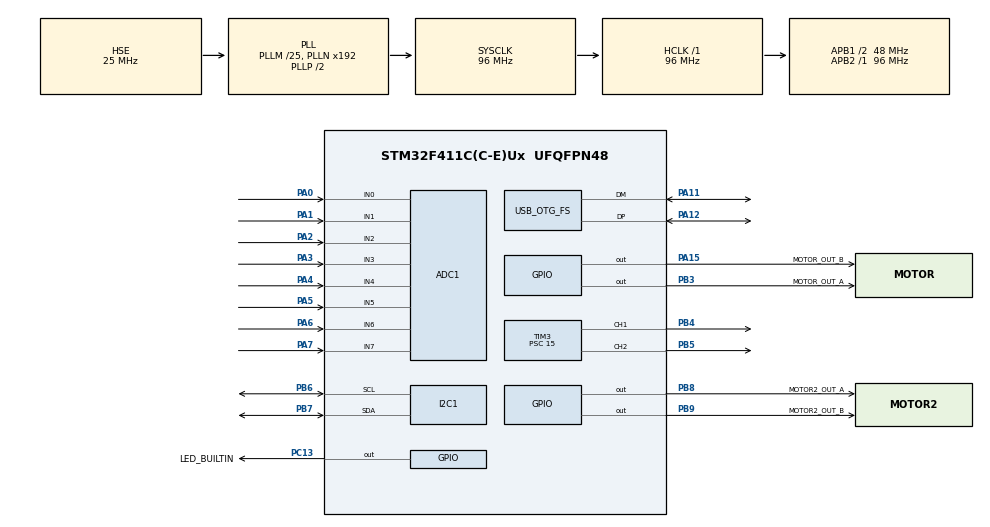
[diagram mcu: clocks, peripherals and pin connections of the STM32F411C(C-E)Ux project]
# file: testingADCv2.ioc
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ADC1.Channel-0\#ChannelRegularConversion=ADC_CHANNEL_0
ADC1.Channel-1\#ChannelRegularConversion=ADC_CHANNEL_1
ADC1.Channel-2\#ChannelRegularConversion=ADC_CHANNEL_2
ADC1.Channel-3\#ChannelRegularConversion=ADC_CHANNEL_3
ADC1.Channel-4\#ChannelRegularConversion=ADC_CHANNEL_4
ADC1.Channel-5\#ChannelRegularConversion=ADC_CHANNEL_5
ADC1.Channel-6\#ChannelRegularConversion=ADC_CHANNEL_6
ADC1.Channel-7\#ChannelRegularConversion=ADC_CHANNEL_7
ADC1.NbrOfConversion=8
ADC1.NbrOfConversionFlag=1
ADC1.Rank-0\#ChannelRegularConversion=1
ADC1.Rank-1\#ChannelRegularConversion=2
ADC1.Rank-2\#ChannelRegularConversion=3
ADC1.Rank-3\#ChannelRegularConversion=4
ADC1.Rank-4\#ChannelRegularConversion=5
ADC1.Rank-5\#ChannelRegularConversion=6
ADC1.Rank-6\#ChannelRegularConversion=7
ADC1.Rank-7\#ChannelRegularConversion=8
ADC1.SamplingTime-0\#ChannelRegularConversion=ADC_SAMPLETIME_56CYCLES
ADC1.SamplingTime-1\#ChannelRegularConversion=ADC_SAMPLETIME_56CYCLES
ADC1.SamplingTime-2\#ChannelRegularConversion=ADC_SAMPLETIME_56CYCLES
ADC1.SamplingTime-3\#ChannelRegularConversion=ADC_SAMPLETIME_56CYCLES
ADC1.SamplingTime-4\#ChannelRegularConversion=ADC_SAMPLETIME_56CYCLES
ADC1.SamplingTime-5\#ChannelRegularConversion=ADC_SAMPLETIME_56CYCLES
ADC1.SamplingTime-6\#ChannelRegularConversion=ADC_SAMPLETIME_56CYCLES
ADC1.SamplingTime-7\#ChannelRegularConversion=ADC_SAMPLETIME_56CYCLES
ADC1.master=1
Dma.ADC1.0.Direction=DMA_PERIPH_TO_MEMORY
Dma.ADC1.0.FIFOMode=DMA_FIFOMODE_DISABLE
Dma.ADC1.0.Instance=DMA2_Stream0
Dma.ADC1.0.MemDataAlignment=DMA_MDATAALIGN_HALFWORD
Dma.ADC1.0.MemInc=DMA_MINC_ENABLE
Dma.ADC1.0.Mode=DMA_NORMAL
Dma.ADC1.0.PeriphDataAlignment=DMA_PDATAALIGN_HALFWORD
Dma.ADC1.0.PeriphInc=DMA_PINC_DISABLE
Dma.ADC1.0.Priority=DMA_PRIORITY_HIGH
Dma.I2C1_RX.2.Direction=DMA_PERIPH_TO_MEMORY
Dma.I2C1_RX.2.FIFOMode=DMA_FIFOMODE_DISABLE
Dma.I2C1_RX.2.Instance=DMA1_Stream0
Dma.I2C1_RX.2.MemDataAlignment=DMA_MDATAALIGN_BYTE
Dma.I2C1_RX.2.MemInc=DMA_MINC_ENABLE
Dma.I2C1_RX.2.Mode=DMA_NORMAL
Dma.I2C1_RX.2.PeriphDataAlignment=DMA_PDATAALIGN_BYTE
Dma.I2C1_RX.2.PeriphInc=DMA_PINC_DISABLE
Dma.I2C1_RX.2.Priority=DMA_PRIORITY_LOW
Dma.I2C1_TX.1.Direction=DMA_MEMORY_TO_PERIPH
Dma.I2C1_TX.1.FIFOMode=DMA_FIFOMODE_DISABLE
Dma.I2C1_TX.1.Instance=DMA1_Stream1
Dma.I2C1_TX.1.MemDataAlignment=DMA_MDATAALIGN_BYTE
Dma.I2C1_TX.1.MemInc=DMA_MINC_ENABLE
Dma.I2C1_TX.1.Mode=DMA_NORMAL
Dma.I2C1_TX.1.PeriphDataAlignment=DMA_PDATAALIGN_BYTE
Dma.I2C1_TX.1.PeriphInc=DMA_PINC_DISABLE
Dma.I2C1_TX.1.Priority=DMA_PRIORITY_LOW
Dma.Request0=ADC1
Dma.Request1=I2C1_TX
Dma.Request2=I2C1_RX
I2C1.I2C_Mode=I2C_Fast
Mcu.Family=STM32F4
Mcu.Name=STM32F411C(C-E)Ux
Mcu.Package=UFQFPN48
NVIC.ADC_IRQn=true\:0\:0\:false\:false\:true\:true\:true\:true
NVIC.DMA1_Stream0_IRQn=true\:0\:0\:false\:false\:true\:false\:true\:true
NVIC.DMA1_Stream1_IRQn=true\:0\:0\:false\:false\:true\:false\:true\:true
NVIC.DMA2_Stream0_IRQn=true\:0\:0\:false\:false\:true\:false\:true\:true
NVIC.FPU_IRQn=true\:0\:0\:false\:false\:true\:true\:false\:true
NVIC.I2C1_ER_IRQn=true\:0\:0\:false\:false\:true\:true\:true\:true
NVIC.I2C1_EV_IRQn=true\:0\:0\:false\:false\:true\:true\:true\:true
NVIC.OTG_FS_IRQn=true\:0\:0\:false\:false\:true\:true\:true\:true
NVIC.PriorityGroup=NVIC_PRIORITYGROUP_4
NVIC.TIM1_TRG_COM_TIM11_IRQn=true\:0\:0\:false\:false\:true\:true\:true\:true
NVIC.TIM1_UP_TIM10_IRQn=true\:0\:0\:false\:false\:true\:true\:true\:true
NVIC.TIM3_IRQn=true\:0\:0\:false\:false\:true\:true\:true\:true
PA0-WKUP.Signal=ADCx_IN0
PA1.Signal=ADCx_IN1
PA11.Mode=Device_Only
PA11.Signal=USB_OTG_FS_DM
PA12.Mode=Device_Only
PA12.Signal=USB_OTG_FS_DP
PA13.Mode=Serial_Wire
PA13.Signal=SYS_JTMS-SWDIO
PA14.Mode=Serial_Wire
PA14.Signal=SYS_JTCK-SWCLK
PA15.GPIO_Label=MOTOR_OUT_B
PA15.Signal=GPIO_Output
PA2.Signal=ADCx_IN2
PA3.Signal=ADCx_IN3
PA4.Signal=ADCx_IN4
PA5.Signal=ADCx_IN5
PA6.Signal=ADCx_IN6
PA7.Signal=ADCx_IN7
PB3.GPIO_Label=MOTOR_OUT_A
PB3.Signal=GPIO_Output
PB4.Signal=S_TIM3_CH1
PB5.Signal=S_TIM3_CH2
PB6.Mode=I2C
PB6.Signal=I2C1_SCL
PB7.Mode=I2C
PB7.Signal=I2C1_SDA
PB8.GPIO_Label=MOTOR2_OUT_A
PB8.Signal=GPIO_Output
PB9.GPIO_Label=MOTOR2_OUT_B
PB9.Signal=GPIO_Output
PC13-ANTI_TAMP.GPIO_Label=LED_BUILTIN
PC13-ANTI_TAMP.Signal=GPIO_Output
PC14-OSC32_IN.Mode=LSE-External-Oscillator
PC14-OSC32_IN.Signal=RCC_OSC32_IN
PC15-OSC32_OUT.Mode=LSE-External-Oscillator
PC15-OSC32_OUT.Signal=RCC_OSC32_OUT
PH0\ -\ OSC_IN.Mode=HSE-External-Oscillator
PH0\ -\ OSC_IN.Signal=RCC_OSC_IN
PH1\ -\ OSC_OUT.Mode=HSE-External-Oscillator
PH1\ -\ OSC_OUT.Signal=RCC_OSC_OUT
ProjectManager.HeapSize=0x200
ProjectManager.StackSize=0x400
ProjectManager.TargetToolchain=STM32CubeIDE
RCC.48MHZClocksFreq_Value=48000000
RCC.AHBFreq_Value=96000000
RCC.APB1CLKDivider=RCC_HCLK_DIV2
RCC.APB1Freq_Value=48000000
RCC.APB1TimFreq_Value=96000000
RCC.APB2Freq_Value=96000000
RCC.APB2TimFreq_Value=96000000
RCC.CortexFreq_Value=96000000
RCC.HCLKFreq_Value=96000000
RCC.HSE_VALUE=25000000
RCC.HSI_VALUE=16000000
RCC.PLLM=25
RCC.SYSCLKFreq_VALUE=96000000
RCC.SYSCLKSource=RCC_SYSCLKSOURCE_PLLCLK
RCC.VCOOutputFreq_Value=192000000
SH.ADCx_IN0.0=ADC1_IN0,IN0
SH.ADCx_IN1.0=ADC1_IN1,IN1
SH.ADCx_IN2.0=ADC1_IN2,IN2
SH.ADCx_IN3.0=ADC1_IN3,IN3
SH.ADCx_IN4.0=ADC1_IN4,IN4
SH.ADCx_IN5.0=ADC1_IN5,IN5
SH.ADCx_IN6.0=ADC1_IN6,IN6
SH.ADCx_IN7.0=ADC1_IN7,IN7
SH.S_TIM3_CH1.0=TIM3_CH1,PWM Generation1 CH1
SH.S_TIM3_CH2.0=TIM3_CH2,PWM Generation2 CH2
TIM10.Period=999
TIM10.Prescaler=47
TIM11.Period=23999
TIM11.Prescaler=0
TIM3.Channel-PWM\ Generation1\ CH1=TIM_CHANNEL_1
TIM3.Channel-PWM\ Generation2\ CH2=TIM_CHANNEL_2
TIM3.Period=59999
TIM3.Prescaler=15
USB_DEVICE.APP_RX_DATA_SIZE=512
USB_DEVICE.APP_TX_DATA_SIZE=512
USB_DEVICE.CLASS_NAME_FS=CDC
USB_DEVICE.VirtualMode=Cdc
USB_DEVICE.VirtualModeFS=Cdc_FS
USB_OTG_FS.VirtualMode=Device_Only
VP_TIM10_VS_ClockSourceINT.Mode=Enable_Timer
VP_TIM11_VS_ClockSourceINT.Mode=Enable_Timer
VP_TIM3_VS_ClockSourceINT.Mode=Internal
VP_USB_DEVICE_VS_USB_DEVICE_CDC_FS.Mode=CDC_FS
board=custom

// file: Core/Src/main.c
/* USER CODE BEGIN Header */
/**
  ******************************************************************************
  * @file           : main.c
  * @brief          : Main program body
  ******************************************************************************
  * @attention
  *
  * Copyright (c) 2025 STMicroelectronics.
  * All rights reserved.
  *
  * This software is licensed under terms that can be found in the LICENSE file
  * in the root directory of this software component.
  * If no LICENSE file comes with this software, it is provided AS-IS.
  *
  ******************************************************************************
  */
/* USER CODE END Header */
#include "main.h"
#include "usb_device.h"

/* USER CODE BEGIN Includes */
#include "usbd_cdc_if.h"
#include "util.h"
#include "fonts.h"
#include "ssd1306_oled.h"
#include "FCAL2.h"
#include "mpu6050.h"
#include "motores.h"
#include <stdlib.h>
/* USER CODE END Includes */

/* USER CODE BEGIN PM */
#define ADC_MAX_CHANNELS 	8
#define RXBUFSIZE           256
#define TXBUFSIZE           256
#define TRUE 				1
#define FALSE				0
#define SISINIT  			Flag.bits.bit0
#define RECIVEDMA 			Flag.bits.bit2
#define SENDDMA 			Flag.bits.bit3
#define DMABUSY				Flag.bits.bit4
//#define RINGBUFFLENGHTH 	256
/* USER CODE END PM */

ADC_HandleTypeDef hadc1;
DMA_HandleTypeDef hdma_adc1;

I2C_HandleTypeDef hi2c1;
DMA_HandleTypeDef hdma_i2c1_tx;
DMA_HandleTypeDef hdma_i2c1_rx;

TIM_HandleTypeDef htim3;
TIM_HandleTypeDef htim10;
TIM_HandleTypeDef htim11;

/* USER CODE BEGIN PV */
volatile _sRx dataRx;
_sTx dataTx;
uint8_t BufUSBTx[256];
volatile uint8_t buffRx[RXBUFSIZE];
uint8_t buffTx[TXBUFSIZE];
uint16_t RINGBUFFLENGTH = 256;
MPU6050_t mpuValues;
uint8_t nBytesTx;
uint8_t is10ms = 	40;
uint8_t is100ms = 	10;
uint8_t is250ms = 	25;
uint16_t adcraws[ADC_MAX_CHANNELS];
uint16_t adcUSB[ADC_MAX_CHANNELS];
_sEng motorL,motorR;
_uWord myWord;
_uFlag Flag;
const uint8_t Index_to_Bar[] = {
    21, 22, 23, 24, 25, 26, 27, 28, 29,
    30, 31, 32, 33, 34, 35, 36, 37, 38, 39,
    40, 41, 42, 43, 44, 45, 46, 47, 48, 49,
    50, 51, 52, 53, 54, 55, 56, 57, 58, 59
};

const uint16_t ADC_to_Index[] = {
  105,  210,  315,  420,  525,  630,  735,  840,  945,
  1050, 1155, 1260, 1365, 1470, 1575, 1680, 1785, 1890, 1995,
  2100, 2205, 2310, 2415, 2520, 2625, 2730, 2835, 2940, 3045,
  3150, 3255, 3360, 3465, 3570, 3675, 3780, 3885, 3990, 4095
};
/* USER CODE END PV */

void SystemClock_Config(void);
static void MX_GPIO_Init(void);
static void MX_DMA_Init(void);
static void MX_ADC1_Init(void);
static void MX_TIM11_Init(void);
static void MX_TIM10_Init(void);
static void MX_I2C1_Init(void);
static void MX_TIM3_Init(void);
/* USER CODE BEGIN PFP */
void USBRxData(uint8_t *buf, uint32_t Len);
uint8_t I2C_DMA_Transmit(uint16_t Dev_Address,uint16_t reg,uint8_t *p_Data, uint16_t _Size);
uint8_t I2C_1_Abstract_Master_Transmit_Blocking(uint16_t Dev_Address, uint8_t *p_Data, uint16_t _Size, uint32_t _Timeout);
uint8_t I2C_RBlocking(uint16_t DevAddress, uint16_t MemAddress, uint16_t MemAddSize, uint8_t *pData, uint16_t Size);
uint8_t I2C_1_Abstract_Mem_Write_Blocking(uint16_t Dev_Address, uint8_t Mem_Adress, uint8_t Mem_AddSize, uint8_t *p_Data, uint16_t _Size, uint32_t _Timeout);
uint8_t I2C_DMA_Recive(uint16_t Dev_Address,uint16_t reg,uint8_t *p_Data, uint16_t _Size);
uint8_t putHeaderOnTx(_sTx  *dataTx, _eCmd ID, uint8_t frameLength);
uint8_t putByteOnTx(_sTx    *dataTx, uint8_t byte);
uint8_t getByteFromRx(_sRx *dataRx, uint8_t iniPos, uint8_t finalPos);
void decodeHeader(_sRx *dataRx);
void decodeCommand(_sRx *dataRx, _sTx *dataTx);
void serialTask(_sRx *dataRx, _sTx *dataTx);
void DMA_Task();
void Engines_task();
/* USER CODE END PFP */

/* USER CODE BEGIN 0 */
void HAL_TIM_PeriodElapsedCallback(TIM_HandleTypeDef *htim){
	if(htim->Instance == TIM11){
		HAL_ADC_Start_DMA(&hadc1, (uint32_t*)&adcraws, 8);
		if(is10ms){
			is10ms--;

		}
	}
	if(htim->Instance == TIM10){
		SSD1306_DMAREADY(FALSE);
		MPU6050_Read_All(&mpuValues);
		mpuValues.DMAREADY=1;
	}
}
void HAL_I2C_MemTxCpltCallback(I2C_HandleTypeDef *hi2c){
	if(hi2c->Devaddress==SSD1306_I2C_ADDR){
		SSD1306_DMAREADY(TRUE);
	}
}
void HAL_I2C_MemRxCpltCallback(I2C_HandleTypeDef *hi2c){
	if(hi2c->Devaddress==MPU6050_ADDR){
		mpuValues.MAF.rawData[0] = (int16_t) (mpuValues.Rec_Data[0] << 8 | mpuValues.Rec_Data[1]);
		mpuValues.MAF.rawData[1] = (int16_t) (mpuValues.Rec_Data[2] << 8 | mpuValues.Rec_Data[3]);
		mpuValues.MAF.rawData[2] = (int16_t) (mpuValues.Rec_Data[4] << 8 | mpuValues.Rec_Data[5]);
		mpuValues.MAF.rawData[3] = (int16_t) (mpuValues.Rec_Data[8] << 8 | mpuValues.Rec_Data[9]);
		mpuValues.MAF.rawData[4] = (int16_t) (mpuValues.Rec_Data[10]<< 8 | mpuValues.Rec_Data[11]);
		mpuValues.MAF.rawData[5] = (int16_t) (mpuValues.Rec_Data[12]<< 8 | mpuValues.Rec_Data[13]);
		SSD1306_DMAREADY(TRUE);

	}
}
void Engines_task(){

	en_HandlerENG(&motorR, 55000, 0);
	en_HandlerENG(&motorL, 40000, 0);
	switch(motorR.estado){
			case BRAKE:
				HAL_GPIO_WritePin(MOTOR2_OUT_A_GPIO_Port, MOTOR2_OUT_A_Pin, 1);
				HAL_GPIO_WritePin(MOTOR2_OUT_B_GPIO_Port, MOTOR2_OUT_B_Pin, 1);
				break;

			case FRONT:
				HAL_GPIO_WritePin(MOTOR2_OUT_A_GPIO_Port, MOTOR2_OUT_A_Pin, 1);
				HAL_GPIO_WritePin(MOTOR2_OUT_B_GPIO_Port, MOTOR2_OUT_B_Pin, 0);
				break;

			case BACK:
				HAL_GPIO_WritePin(MOTOR2_OUT_A_GPIO_Port, MOTOR2_OUT_A_Pin, 0);
				HAL_GPIO_WritePin(MOTOR2_OUT_B_GPIO_Port, MOTOR2_OUT_B_Pin, 1);
				break;

			case FREE:
				HAL_GPIO_WritePin(MOTOR2_OUT_A_GPIO_Port, MOTOR2_OUT_A_Pin, 0);
				HAL_GPIO_WritePin(MOTOR2_OUT_B_GPIO_Port, MOTOR2_OUT_B_Pin, 0);
				break;
			default:
				break;
			}
	switch(motorL.estado){
		case BRAKE:
			HAL_GPIO_WritePin(MOTOR_OUT_A_GPIO_Port, MOTOR_OUT_A_Pin, 1);
			HAL_GPIO_WritePin(MOTOR_OUT_B_GPIO_Port, MOTOR_OUT_B_Pin, 1);
			break;

		case FRONT:
			HAL_GPIO_WritePin(MOTOR_OUT_A_GPIO_Port, MOTOR_OUT_A_Pin, 1);
			HAL_GPIO_WritePin(MOTOR_OUT_B_GPIO_Port, MOTOR_OUT_B_Pin, 0);
			break;

		case BACK:
			HAL_GPIO_WritePin(MOTOR_OUT_A_GPIO_Port, MOTOR_OUT_A_Pin, 0);
			HAL_GPIO_WritePin(MOTOR_OUT_B_GPIO_Port, MOTOR_OUT_B_Pin, 1);
			break;

		case FREE:
			HAL_GPIO_WritePin(MOTOR_OUT_A_GPIO_Port, MOTOR_OUT_A_Pin, 0);
			HAL_GPIO_WritePin(MOTOR_OUT_B_GPIO_Port, MOTOR_OUT_B_Pin, 0);
			break;
		default:
			break;
	}
		__HAL_TIM_SET_COMPARE(&htim3, TIM_CHANNEL_1, motorL.speed);
		__HAL_TIM_SET_COMPARE(&htim3, TIM_CHANNEL_2, motorR.speed);
}
void HAL_ADC_ConvCpltCallback(ADC_HandleTypeDef *hadc){
	adcUSB[0] = adcraws[0];
	adcUSB[1] = adcraws[1];
	adcUSB[2] = adcraws[2];
	adcUSB[3] = adcraws[3];
	adcUSB[4] = adcraws[4];
	adcUSB[5] = adcraws[5];
	adcUSB[6] = adcraws[6];
	adcUSB[7] = adcraws[7];
}
void USBRxData(uint8_t *buf, uint32_t Len){
	for(nBytesTx = 0;nBytesTx<Len;nBytesTx++){
			dataRx.buff[dataRx.indexW++]= buf[nBytesTx];
		    dataRx.indexW &= dataRx.mask;
		}
}

void decodeHeader(_sRx *dataRx)
{
    uint8_t auxIndex=dataRx->indexW;
    while(dataRx->indexR != auxIndex){
        switch(dataRx->header)
        {
            case HEADER_U:
                if(dataRx->buff[dataRx->indexR] == 'U'){
                    dataRx->header = HEADER_N;
                    dataRx->timeOut = 5;
                }
            break;
            case HEADER_N:
                if(dataRx->buff[dataRx->indexR] == 'N'){
                    dataRx->header = HEADER_E;
                }else{
                    if(dataRx->buff[dataRx->indexR] != 'U'){
                        dataRx->header = HEADER_U;
                        dataRx->indexR--;
                    }
                }
            break;
            case HEADER_E:
                if(dataRx->buff[dataRx->indexR] == 'E'){
                    dataRx->header = HEADER_R;
                }else{
                    dataRx->header = HEADER_U;
                    dataRx->indexR--;
                }
            break;
            case HEADER_R:
                if(dataRx->buff[dataRx->indexR] == 'R'){
                    dataRx->header = NBYTES;
                }else{
                    dataRx->header = HEADER_U;
                    dataRx->indexR--;
                }
            break;
            case NBYTES:
                dataRx->nBytes=dataRx->buff[dataRx->indexR];
                dataRx->header = TOKEN;
            break;
            case TOKEN:
                if(dataRx->buff[dataRx->indexR] == ':'){
                    dataRx->header = PAYLOAD;
                    dataRx->indexData = dataRx->indexR+1;
                    dataRx->indexData &= dataRx->mask;
                    dataRx->chk = 0;
                    dataRx->chk ^= ('U' ^'N' ^'E' ^'R' ^dataRx->nBytes ^':') ;
                }else{
                    dataRx->header = HEADER_U;
                    dataRx->indexR--;
                }
            break;
            case PAYLOAD:
                dataRx->nBytes--;
                if(dataRx->nBytes>0){
                   dataRx->chk ^= dataRx->buff[dataRx->indexR];
                }else{
                    dataRx->header = HEADER_U;
                    if(dataRx->buff[dataRx->indexR] == dataRx->chk)
                        dataRx->isComannd = TRUE;
                }
            break;
            default:
                dataRx->header = HEADER_U;
            break;
        }
        dataRx->indexR++;
        dataRx->indexR &= dataRx->mask;
    }
}
void decodeCommand(_sRx *dataRx, _sTx *dataTx)
{
    //int32_t motorSpeed, auxSpeed;
   // int8_t angleSource;
    //uint32_t servoPrevio=miServo.currentValue;
    switch(dataRx->buff[dataRx->indexData]){
        case ALIVE:
            putHeaderOnTx(dataTx, ALIVE, 2);
            putByteOnTx(dataTx, ACK );
            putByteOnTx(dataTx, dataTx->chk);
        break;
        case DATA:
        	myWord.ui16[0] = adcUSB[0];
        	putHeaderOnTx(dataTx, DATA, 29);
        	putByteOnTx(dataTx, myWord.ui8[0]);
        	putByteOnTx(dataTx, myWord.ui8[1]);
        	myWord.ui16[0] = adcUSB[1];
        	putByteOnTx(dataTx, myWord.ui8[0]);
        	putByteOnTx(dataTx, myWord.ui8[1]);
        	myWord.ui16[0] = adcUSB[2];
        	putByteOnTx(dataTx, myWord.ui8[0]);
        	putByteOnTx(dataTx, myWord.ui8[1]);
        	myWord.ui16[0] = adcUSB[3];
        	putByteOnTx(dataTx, myWord.ui8[0]);
        	putByteOnTx(dataTx, myWord.ui8[1]);
        	myWord.ui16[0] = adcUSB[4];
        	putByteOnTx(dataTx, myWord.ui8[0]);
        	putByteOnTx(dataTx, myWord.ui8[1]);
        	myWord.ui16[0] = adcUSB[5];
        	putByteOnTx(dataTx, myWord.ui8[0]);
        	putByteOnTx(dataTx, myWord.ui8[1]);
        	myWord.ui16[0] = adcUSB[6];
        	putByteOnTx(dataTx, myWord.ui8[0]);
        	putByteOnTx(dataTx, myWord.ui8[1]);
        	myWord.ui16[0] = adcUSB[7];
        	putByteOnTx(dataTx, myWord.ui8[0]);
        	putByteOnTx(dataTx, myWord.ui8[1]);
        	myWord.i16[0] = mpuValues.MAF.rawData[0];
        	putByteOnTx(dataTx, myWord.i8[0]);
        	putByteOnTx(dataTx, myWord.i8[1]);
        	myWord.i16[0] = mpuValues.MAF.rawData[1];
        	putByteOnTx(dataTx, myWord.i8[0]);
        	putByteOnTx(dataTx, myWord.i8[1]);
        	myWord.i16[0] = mpuValues.MAF.rawData[2];
        	putByteOnTx(dataTx, myWord.i8[0]);
        	putByteOnTx(dataTx, myWord.i8[1]);
        	myWord.i16[0] = mpuValues.MAF.rawData[3];
        	putByteOnTx(dataTx, myWord.i8[0]);
        	putByteOnTx(dataTx, myWord.i8[1]);
        	myWord.i16[0] = mpuValues.MAF.rawData[4];
        	putByteOnTx(dataTx, myWord.i8[0]);
        	putByteOnTx(dataTx, myWord.i8[1]);
        	myWord.i16[0] = mpuValues.MAF.rawData[5];
        	putByteOnTx(dataTx, myWord.i8[0]);
        	putByteOnTx(dataTx, myWord.i8[1]);
        	//putHeaderOnTx(dataTx, ALIVE, 2);
        	//putByteOnTx(dataTx, ACK );
        	putByteOnTx(dataTx, dataTx->chk);
        	break;
        default:
            putHeaderOnTx(dataTx, (_eCmd)dataRx->buff[dataRx->indexData], 2);
            putByteOnTx(dataTx,UNKNOWN );
            putByteOnTx(dataTx, dataTx->chk);
        break;
    }
}
uint8_t putHeaderOnTx(_sTx  *dataTx, _eCmd ID, uint8_t frameLength)
{
    dataTx->chk = 0;
    dataTx->buff[dataTx->indexW++]='U';
    dataTx->indexW &= dataTx->mask;
    dataTx->buff[dataTx->indexW++]='N';
    dataTx->indexW &= dataTx->mask;
    dataTx->buff[dataTx->indexW++]='E';
    dataTx->indexW &= dataTx->mask;
    dataTx->buff[dataTx->indexW++]='R';
    dataTx->indexW &= dataTx->mask;
    dataTx->buff[dataTx->indexW++]=frameLength+1;
    dataTx->indexW &= dataTx->mask;
    dataTx->buff[dataTx->indexW++]=':';
    dataTx->indexW &= dataTx->mask;
    dataTx->buff[dataTx->indexW++]=ID;
    dataTx->indexW &= dataTx->mask;
    dataTx->chk ^= (frameLength+1);
    dataTx->chk ^= ('U' ^'N' ^'E' ^'R' ^ID ^':') ;
    return  dataTx->chk;
}
uint8_t putByteOnTx(_sTx *dataTx, uint8_t byte)
{
    dataTx->buff[dataTx->indexW++]=byte;
    dataTx->indexW &= dataTx->mask;
    dataTx->chk ^= byte;
    return dataTx->chk;
}
void SSD1306_Task(){

	uint32_t guiaBarras;
	//if(SISINIT){
		SSD1306_Fill(WHITE);
		SSD1306_GotoXY(90, 50);
		for(uint8_t i = 0; i < 8; i++){
			for(uint8_t j = 0; j < 45; j++){
				if(adcUSB[i] <= ADC_to_Index[j]){
					guiaBarras = 5 + i * 8;
					SSD1306_DrawLine(guiaBarras, 59,  guiaBarras, Index_to_Bar[j], BLACK);
					SSD1306_DrawLine(guiaBarras+1, 59,  guiaBarras+1, Index_to_Bar[j], BLACK);
					break;
			}
		}
	}
}
/* USER CODE END 0 */

int main(void)
{

  /* MCU Configuration--------------------------------------------------------*/

  /* Reset of all peripherals, Initializes the Flash interface and the Systick. */
  HAL_Init();

  /* USER CODE BEGIN Init */
  //HAL_ADC_Start_DMA(hadc, pData, Length);
  /* USER CODE END Init */

  /* Configure the system clock */
  SystemClock_Config();

  /* Initialize all configured peripherals */
  MX_GPIO_Init();
  MX_DMA_Init();
  MX_ADC1_Init();
  MX_USB_DEVICE_Init();
  MX_TIM11_Init();
  MX_TIM10_Init();
  MX_I2C1_Init();
  MX_TIM3_Init();
  /* USER CODE BEGIN 2 */
  HAL_TIM_Base_Start_IT(&htim11);
  //HAL_TIM_Base_Start_IT(&htim3);
  HAL_TIM_Base_Start_IT(&htim10);
  //HAL_TIM_PWM_Start(&htim3, TIM_CHANNEL_1);
  //HAL_TIM_PWM_Start(&htim3, TIM_CHANNEL_2);
  //en_InitENG(&motorL, (uint16_t)htim3.Instance->ARR);
  //en_InitENG(&motorR, (uint16_t)htim3.Instance->ARR);
  Display_Set_I2C_Master_Transmit(&I2C_DMA_Transmit, &I2C_1_Abstract_Master_Transmit_Blocking);
  MPU6050_I2C_Blocking(&I2C_RBlocking,&I2C_1_Abstract_Mem_Write_Blocking);
  MPU6050_NonBlocking_DMA(&I2C_DMA_Transmit,&I2C_DMA_Recive);
  SSD1306_Init();

  CDC_Attach_Rx(USBRxData);
  nBytesTx = 0;

  dataRx.buff = (uint8_t *)buffRx;
  dataRx.indexR = 0;
  dataRx.indexW = 0;
  dataRx.header = HEADER_U;
  dataRx.mask = RXBUFSIZE - 1;

  dataTx.bytesToTx = 0;
  dataTx.buff = buffTx;
  dataTx.indexR = 0;
  dataTx.indexW = 0;
  dataTx.mask = TXBUFSIZE -1;
  //SSD1306_DrawBitmap(0, 0, imagen2, 128, 64, WHITE);
  MPU6050_Init(&mpuValues);
  mpuValues.DMAREADY = 1;
  /* USER CODE END 2 */

  /* Infinite loop */
  while (1)
  {

    /* USER CODE BEGIN 3 */

	  if(!is10ms){
		  is10ms = 40;
		  is100ms--;
		  is250ms--;
	  }
	  if(!is100ms){
		  is100ms = 10;
		  SSD1306_Task();
		  SSD1306_RefreshReady();

	  }
	  if(!is250ms){
		  Engines_task();
		  is250ms = 25;
		  HAL_GPIO_TogglePin(LED_BUILTIN_GPIO_Port, LED_BUILTIN_Pin);
	  }
	  serialTask((_sRx *)&dataRx,&dataTx);
	  //MPU6050_MAF(&mpuValues);
	  SSD1306_UpdateScreen();
	  //HAL_Delay(250);
  }
  /* USER CODE END 3 */
}

void SystemClock_Config(void)
{
  RCC_OscInitTypeDef RCC_OscInitStruct = {0};
  RCC_ClkInitTypeDef RCC_ClkInitStruct = {0};

  /** Configure the main internal regulator output voltage
  */
  __HAL_RCC_PWR_CLK_ENABLE();
  __HAL_PWR_VOLTAGESCALING_CONFIG(PWR_REGULATOR_VOLTAGE_SCALE1);

  /** Initializes the RCC Oscillators according to the specified parameters
  * in the RCC_OscInitTypeDef structure.
  */
  RCC_OscInitStruct.OscillatorType = RCC_OSCILLATORTYPE_HSE;
  RCC_OscInitStruct.HSEState = RCC_HSE_ON;
  RCC_OscInitStruct.PLL.PLLState = RCC_PLL_ON;
  RCC_OscInitStruct.PLL.PLLSource = RCC_PLLSOURCE_HSE;
  RCC_OscInitStruct.PLL.PLLM = 25;
  RCC_OscInitStruct.PLL.PLLN = 192;
  RCC_OscInitStruct.PLL.PLLP = RCC_PLLP_DIV2;
  RCC_OscInitStruct.PLL.PLLQ = 4;
  if (HAL_RCC_OscConfig(&RCC_OscInitStruct) != HAL_OK)
  {
    Error_Handler();
  }

  /** Initializes the CPU, AHB and APB buses clocks
  */
  RCC_ClkInitStruct.ClockType = RCC_CLOCKTYPE_HCLK|RCC_CLOCKTYPE_SYSCLK
                              |RCC_CLOCKTYPE_PCLK1|RCC_CLOCKTYPE_PCLK2;
  RCC_ClkInitStruct.SYSCLKSource = RCC_SYSCLKSOURCE_PLLCLK;
  RCC_ClkInitStruct.AHBCLKDivider = RCC_SYSCLK_DIV1;
  RCC_ClkInitStruct.APB1CLKDivider = RCC_HCLK_DIV2;
  RCC_ClkInitStruct.APB2CLKDivider = RCC_HCLK_DIV1;

  if (HAL_RCC_ClockConfig(&RCC_ClkInitStruct, FLASH_LATENCY_3) != HAL_OK)
  {
    Error_Handler();
  }
}

static void MX_ADC1_Init(void)
{

  ADC_ChannelConfTypeDef sConfig = {0};

  /** Configure the global features of the ADC (Clock, Resolution, Data Alignment and number of conversion)
  */
  hadc1.Instance = ADC1;
  hadc1.Init.ClockPrescaler = ADC_CLOCK_SYNC_PCLK_DIV4;
  hadc1.Init.Resolution = ADC_RESOLUTION_12B;
  hadc1.Init.ScanConvMode = ENABLE;
  hadc1.Init.ContinuousConvMode = DISABLE;
  hadc1.Init.DiscontinuousConvMode = DISABLE;
  hadc1.Init.ExternalTrigConvEdge = ADC_EXTERNALTRIGCONVEDGE_NONE;
  hadc1.Init.ExternalTrigConv = ADC_SOFTWARE_START;
  hadc1.Init.DataAlign = ADC_DATAALIGN_RIGHT;
  hadc1.Init.NbrOfConversion = 8;
  hadc1.Init.DMAContinuousRequests = DISABLE;
  hadc1.Init.EOCSelection = ADC_EOC_SINGLE_CONV;
  if (HAL_ADC_Init(&hadc1) != HAL_OK)
  {
    Error_Handler();
  }

  /** Configure for the selected ADC regular channel its corresponding rank in the sequencer and its sample time.
  */
  sConfig.Channel = ADC_CHANNEL_0;
  sConfig.Rank = 1;
  sConfig.SamplingTime = ADC_SAMPLETIME_56CYCLES;
  if (HAL_ADC_ConfigChannel(&hadc1, &sConfig) != HAL_OK)
  {
    Error_Handler();
  }

  /** Configure for the selected ADC regular channel its corresponding rank in the sequencer and its sample time.
  */
  sConfig.Channel = ADC_CHANNEL_1;
  sConfig.Rank = 2;
  if (HAL_ADC_ConfigChannel(&hadc1, &sConfig) != HAL_OK)
  {
    Error_Handler();
  }

  /** Configure for the selected ADC regular channel its corresponding rank in the sequencer and its sample time.
  */
  sConfig.Channel = ADC_CHANNEL_2;
  sConfig.Rank = 3;
  if (HAL_ADC_ConfigChannel(&hadc1, &sConfig) != HAL_OK)
  {
    Error_Handler();
  }

  /** Configure for the selected ADC regular channel its corresponding rank in the sequencer and its sample time.
  */
  sConfig.Channel = ADC_CHANNEL_3;
  sConfig.Rank = 4;
  if (HAL_ADC_ConfigChannel(&hadc1, &sConfig) != HAL_OK)
  {
    Error_Handler();
  }

  /** Configure for the selected ADC regular channel its corresponding rank in the sequencer and its sample time.
  */
  sConfig.Channel = ADC_CHANNEL_4;
  sConfig.Rank = 5;
  if (HAL_ADC_ConfigChannel(&hadc1, &sConfig) != HAL_OK)
  {
    Error_Handler();
  }

  /** Configure for the selected ADC regular channel its corresponding rank in the sequencer and its sample time.
  */
  sConfig.Channel = ADC_CHANNEL_5;
  sConfig.Rank = 6;
  if (HAL_ADC_ConfigChannel(&hadc1, &sConfig) != HAL_OK)
  {
    Error_Handler();
  }

  /** Configure for the selected ADC regular channel its corresponding rank in the sequencer and its sample time.
  */
  sConfig.Channel = ADC_CHANNEL_6;
  sConfig.Rank = 7;
  if (HAL_ADC_ConfigChannel(&hadc1, &sConfig) != HAL_OK)
  {
    Error_Handler();
  }

  /** Configure for the selected ADC regular channel its corresponding rank in the sequencer and its sample time.
  */
  sConfig.Channel = ADC_CHANNEL_7;
  sConfig.Rank = 8;
  if (HAL_ADC_ConfigChannel(&hadc1, &sConfig) != HAL_OK)
  {
    Error_Handler();
  }

}

static void MX_I2C1_Init(void)
{

  hi2c1.Instance = I2C1;
  hi2c1.Init.ClockSpeed = 400000;
  hi2c1.Init.DutyCycle = I2C_DUTYCYCLE_2;
  hi2c1.Init.OwnAddress1 = 0;
  hi2c1.Init.AddressingMode = I2C_ADDRESSINGMODE_7BIT;
  hi2c1.Init.DualAddressMode = I2C_DUALADDRESS_DISABLE;
  hi2c1.Init.OwnAddress2 = 0;
  hi2c1.Init.GeneralCallMode = I2C_GENERALCALL_DISABLE;
  hi2c1.Init.NoStretchMode = I2C_NOSTRETCH_DISABLE;
  if (HAL_I2C_Init(&hi2c1) != HAL_OK)
  {
    Error_Handler();
  }

}

static void MX_TIM3_Init(void)
{

  TIM_ClockConfigTypeDef sClockSourceConfig = {0};
  TIM_MasterConfigTypeDef sMasterConfig = {0};
  TIM_OC_InitTypeDef sConfigOC = {0};

  htim3.Instance = TIM3;
  htim3.Init.Prescaler = 15;
  htim3.Init.CounterMode = TIM_COUNTERMODE_UP;
  htim3.Init.Period = 59999;
  htim3.Init.ClockDivision = TIM_CLOCKDIVISION_DIV1;
  htim3.Init.AutoReloadPreload = TIM_AUTORELOAD_PRELOAD_DISABLE;
  if (HAL_TIM_Base_Init(&htim3) != HAL_OK)
  {
    Error_Handler();
  }
  sClockSourceConfig.ClockSource = TIM_CLOCKSOURCE_INTERNAL;
  if (HAL_TIM_ConfigClockSource(&htim3, &sClockSourceConfig) != HAL_OK)
  {
    Error_Handler();
  }
  if (HAL_TIM_PWM_Init(&htim3) != HAL_OK)
  {
    Error_Handler();
  }
  sMasterConfig.MasterOutputTrigger = TIM_TRGO_RESET;
  sMasterConfig.MasterSlaveMode = TIM_MASTERSLAVEMODE_DISABLE;
  if (HAL_TIMEx_MasterConfigSynchronization(&htim3, &sMasterConfig) != HAL_OK)
  {
    Error_Handler();
  }
  sConfigOC.OCMode = TIM_OCMODE_PWM1;
  sConfigOC.Pulse = 0;
  sConfigOC.OCPolarity = TIM_OCPOLARITY_HIGH;
  sConfigOC.OCFastMode = TIM_OCFAST_DISABLE;
  if (HAL_TIM_PWM_ConfigChannel(&htim3, &sConfigOC, TIM_CHANNEL_1) != HAL_OK)
  {
    Error_Handler();
  }
  if (HAL_TIM_PWM_ConfigChannel(&htim3, &sConfigOC, TIM_CHANNEL_2) != HAL_OK)
  {
    Error_Handler();
  }
  HAL_TIM_MspPostInit(&htim3);

}

static void MX_TIM10_Init(void)
{

  htim10.Instance = TIM10;
  htim10.Init.Prescaler = 47;
  htim10.Init.CounterMode = TIM_COUNTERMODE_UP;
  htim10.Init.Period = 999;
  htim10.Init.ClockDivision = TIM_CLOCKDIVISION_DIV1;
  htim10.Init.AutoReloadPreload = TIM_AUTORELOAD_PRELOAD_DISABLE;
  if (HAL_TIM_Base_Init(&htim10) != HAL_OK)
  {
    Error_Handler();
  }

}

static void MX_TIM11_Init(void)
{

  htim11.Instance = TIM11;
  htim11.Init.Prescaler = 0;
  htim11.Init.CounterMode = TIM_COUNTERMODE_UP;
  htim11.Init.Period = 23999;
  htim11.Init.ClockDivision = TIM_CLOCKDIVISION_DIV1;
  htim11.Init.AutoReloadPreload = TIM_AUTORELOAD_PRELOAD_DISABLE;
  if (HAL_TIM_Base_Init(&htim11) != HAL_OK)
  {
    Error_Handler();
  }

}

static void MX_DMA_Init(void)
{

  /* DMA controller clock enable */
  __HAL_RCC_DMA2_CLK_ENABLE();
  __HAL_RCC_DMA1_CLK_ENABLE();

  /* DMA interrupt init */
  /* DMA1_Stream0_IRQn interrupt configuration */
  HAL_NVIC_SetPriority(DMA1_Stream0_IRQn, 0, 0);
  HAL_NVIC_EnableIRQ(DMA1_Stream0_IRQn);
  /* DMA1_Stream1_IRQn interrupt configuration */
  HAL_NVIC_SetPriority(DMA1_Stream1_IRQn, 0, 0);
  HAL_NVIC_EnableIRQ(DMA1_Stream1_IRQn);
  /* DMA2_Stream0_IRQn interrupt configuration */
  HAL_NVIC_SetPriority(DMA2_Stream0_IRQn, 0, 0);
  HAL_NVIC_EnableIRQ(DMA2_Stream0_IRQn);

}

static void MX_GPIO_Init(void)
{
  GPIO_InitTypeDef GPIO_InitStruct = {0};

  /* GPIO Ports Clock Enable */
  __HAL_RCC_GPIOC_CLK_ENABLE();
  __HAL_RCC_GPIOH_CLK_ENABLE();
  __HAL_RCC_GPIOA_CLK_ENABLE();
  __HAL_RCC_GPIOB_CLK_ENABLE();

  /*Configure GPIO pin Output Level */
  HAL_GPIO_WritePin(LED_BUILTIN_GPIO_Port, LED_BUILTIN_Pin, GPIO_PIN_RESET);

  /*Configure GPIO pin Output Level */
  HAL_GPIO_WritePin(MOTOR_OUT_B_GPIO_Port, MOTOR_OUT_B_Pin, GPIO_PIN_RESET);

  /*Configure GPIO pin Output Level */
  HAL_GPIO_WritePin(GPIOB, MOTOR_OUT_A_Pin|MOTOR2_OUT_A_Pin|MOTOR2_OUT_B_Pin, GPIO_PIN_RESET);

  /*Configure GPIO pin : LED_BUILTIN_Pin */
  GPIO_InitStruct.Pin = LED_BUILTIN_Pin;
  GPIO_InitStruct.Mode = GPIO_MODE_OUTPUT_PP;
  GPIO_InitStruct.Pull = GPIO_NOPULL;
  GPIO_InitStruct.Speed = GPIO_SPEED_FREQ_LOW;
  HAL_GPIO_Init(LED_BUILTIN_GPIO_Port, &GPIO_InitStruct);

  /*Configure GPIO pin : MOTOR_OUT_B_Pin */
  GPIO_InitStruct.Pin = MOTOR_OUT_B_Pin;
  GPIO_InitStruct.Mode = GPIO_MODE_OUTPUT_PP;
  GPIO_InitStruct.Pull = GPIO_NOPULL;
  GPIO_InitStruct.Speed = GPIO_SPEED_FREQ_LOW;
  HAL_GPIO_Init(MOTOR_OUT_B_GPIO_Port, &GPIO_InitStruct);

  /*Configure GPIO pins : MOTOR_OUT_A_Pin MOTOR2_OUT_A_Pin MOTOR2_OUT_B_Pin */
  GPIO_InitStruct.Pin = MOTOR_OUT_A_Pin|MOTOR2_OUT_A_Pin|MOTOR2_OUT_B_Pin;
  GPIO_InitStruct.Mode = GPIO_MODE_OUTPUT_PP;
  GPIO_InitStruct.Pull = GPIO_NOPULL;
  GPIO_InitStruct.Speed = GPIO_SPEED_FREQ_LOW;
  HAL_GPIO_Init(GPIOB, &GPIO_InitStruct);

}

/* USER CODE BEGIN 4 */
void serialTask(_sRx *dataRx, _sTx *dataTx)
{
	if(dataRx->isComannd){
			dataRx->isComannd=FALSE;
			decodeCommand(dataRx,dataTx);
	    }
	if(dataRx->indexR!=dataRx->indexW){
	        decodeHeader(dataRx);
	    }
	if(dataTx->indexR!=dataTx->indexW){
		if(dataTx->indexW > dataTx->indexR){
				dataTx->bytesToTx = dataTx->indexW - dataTx->indexR;
			}else{
				dataTx->bytesToTx = sizeof(dataTx->buff) - dataTx->indexR;
			}
			if(CDC_Transmit_FS(&dataTx->buff[dataTx->indexR], dataTx->bytesToTx) == USBD_OK){
				dataTx->indexR += dataTx->bytesToTx;
			}
	    }
}
uint8_t I2C_DMA_Transmit(uint16_t Dev_Address,uint16_t reg,uint8_t *p_Data, uint16_t _Size){

	HAL_I2C_Mem_Write_DMA(&hi2c1, Dev_Address, reg, 1, p_Data, _Size);
	return 1;
}
uint8_t I2C_1_Abstract_Master_Transmit_Blocking(uint16_t Dev_Address, uint8_t *p_Data, uint16_t _Size, uint32_t _Timeout){
	return (uint8_t)HAL_I2C_Master_Transmit(&hi2c1, Dev_Address, p_Data, _Size, _Timeout);
}
uint8_t I2C_RBlocking(uint16_t DevAddress, uint16_t MemAddress, uint16_t MemAddSize, uint8_t *pData, uint16_t Size){

	HAL_I2C_Mem_Read(&hi2c1, DevAddress, MemAddress, MemAddSize, pData, Size,1000);
	return 1;

}
uint8_t I2C_DMA_Recive(uint16_t Dev_Address,uint16_t reg,uint8_t *p_Data, uint16_t _Size){
	HAL_I2C_Mem_Read_DMA(&hi2c1, Dev_Address, reg, 1, p_Data, _Size);
	return 1;
}
uint8_t I2C_1_Abstract_Mem_Write_Blocking(uint16_t Dev_Address, uint8_t Mem_Adress, uint8_t Mem_AddSize, uint8_t *p_Data, uint16_t _Size, uint32_t _Timeout){
	return (uint8_t)HAL_I2C_Mem_Write(&hi2c1, Dev_Address, Mem_Adress, Mem_AddSize, p_Data, _Size, _Timeout);
}
/* USER CODE END 4 */

void Error_Handler(void)
{
  __disable_irq();
  while (1)
  {
  }
}
